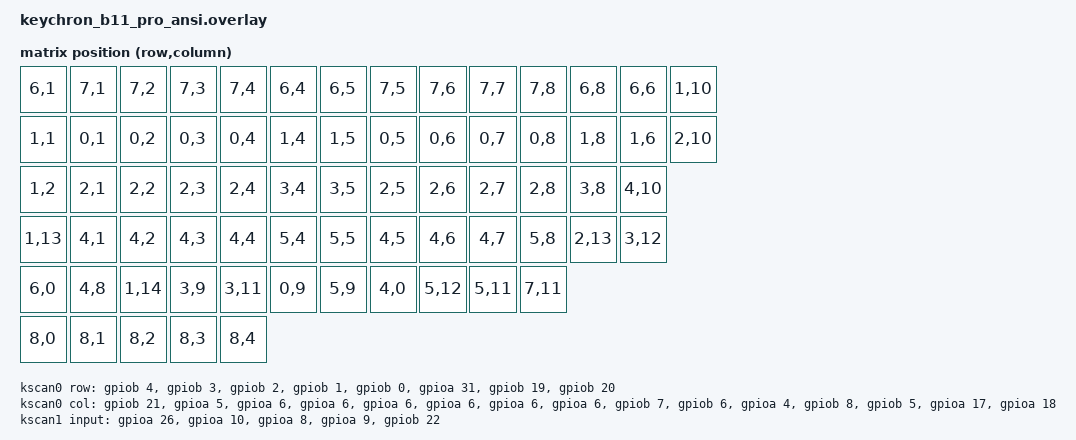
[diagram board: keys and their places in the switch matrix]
/*
 * Keychron B11 Pro (ANSI, 65% Alice, foldable) - RTL8762G.
 *
 * Hardware facts below come from the stock 1.0.0 OTA image
 * (b11pro_v1.0.0_ansi_202509241023_ota_1.bin, USB 3434:07b0), read with a
 * pointer scan of its device tables, not from a schematic. Source of each fact:
 *   - matrix: 8 rows x 15 cols, cols 0-7 behind a 74HC595 (data B21, rclk A5,
 *     clk A6 - the same three pins as the K3 SE2 shield), cols 8-14 are direct
 *     GPIO outputs, rows are active-low inputs with pull-ups.
 *   - key index table (matrix cell -> reading-order key number) at stock
 *     0x4041158; the transform below is generated from it and agrees with
 *     Keychron's launcher layout JSON (b11pro_ansi_launcher_layout.json).
 *   - direct inputs: image order A26, A10, A8, A9, B22. Stock keymap binds them to
 *     &mo 3 (Windows base layer), &kc MOD_USB, &kc MOD_PPT, &kc MOD_BLE, &kc BAT_CHG,
 *     so A26 is the Mac/Win switch (high = Windows), not a fold sensor.
 * Confirmed by disassembling the stock scan (see b11-pro/hardware.md): pins,
 * row/col order, 595 bit order (col n = Q n, active low), LED pins and polarity.
 * Still unverified on a board: anything electrical the image cannot show.
 */
#include <dt-bindings/zmk/matrix_transform.h>
#include <dt-bindings/led/led.h>
#include <zephyr/dt-bindings/gpio/realtek-rtl87x2g-gpio.h>

&gpioa {
    status = "okay";
};
&gpiob {
    status = "okay";
};
&usb {
    status = "okay";
};
&timer2 {
    status = "okay";
    prescaler = <1>;
};
&timer8 {
    status = "okay";
};
&timer9 {
    status = "okay";
};
&corewdt {
    status = "okay";
    initial-timeout-ms = <5000>;
};
&aonwdt {
    status = "disabled";
    initial-timeout-ms = <5000>;
};
/ {
    aliases {
        watchdog = &corewdt;
    };
};

&adc {
    pinctrl-0 = <&adc_default>;
    pinctrl-1 = <&adc_sleep>;
    pinctrl-names = "default","sleep";
    #address-cells = <1>;
    #size-cells = <0>;
    status = "okay";
    is-bypass-mode= <0x08>;
    channel@3 {
        reg = <3>;
        zephyr,gain = "ADC_GAIN_1";
        zephyr,reference = "ADC_REF_INTERNAL";
        zephyr,acquisition-time = <ADC_ACQ_TIME_DEFAULT>;
        zephyr,resolution = <12>;
    };
};

/ {
    chosen {
        zmk,kscan = &kscan_comp;
        zmk,matrix-transform = &default_transform;
        zmk,battery = &vbatt;
    };

    kscan_comp: kscan {
        compatible = "zmk,kscan-composite";
        rows = <9>;
        columns = <15>;
        // direct init first, shifted below the matrix rows
        direct {
            kscan = <&kscan1>;
            row-offset = <8>;
        };
        matrix {
            kscan = <&kscan0>;
        };
    };

    kscan0: kscan_matrix {
        compatible = "zmk,kscan-gpio-matrix";

        diode-direction = "col2row"; // col output, row input
        debounce-scan-period-ms = <1>;
        debounce-press-ms = <0>;
        debounce-release-ms = <50>;

        row-gpios
              = <&gpiob 4 (GPIO_ACTIVE_LOW | GPIO_PULL_UP)>    //r0 P3_7
            , <&gpiob 3 (GPIO_ACTIVE_LOW | GPIO_PULL_UP)>    //r1 P3_6
            , <&gpiob 2 (GPIO_ACTIVE_LOW | GPIO_PULL_UP)>    //r2 P3_5
            , <&gpiob 1 (GPIO_ACTIVE_LOW | GPIO_PULL_UP)>    //r3 P3_4
            , <&gpiob 0 (GPIO_ACTIVE_LOW | GPIO_PULL_UP)>    //r4 P3_3
            , <&gpioa 31 (GPIO_ACTIVE_LOW | GPIO_PULL_UP)>   //r5 P3_2
            , <&gpiob 19 (GPIO_ACTIVE_LOW | GPIO_PULL_UP)>   //r6 P5_6
            , <&gpiob 20 (GPIO_ACTIVE_LOW | GPIO_PULL_UP)>   //r7 P5_7
            ;
        col-gpios
            = <&gpiob 21 (GPIO_ACTIVE_HIGH)>  //c0 P9_0  595 DATA
            , <&gpioa 5  (GPIO_ACTIVE_HIGH)>  //c1 P0_5  595 RCK
            , <&gpioa 6  (GPIO_ACTIVE_HIGH)>  //c2 P0_6  595 CLK
            , <&gpioa 6  (GPIO_ACTIVE_HIGH)>  //c3 (595 output, placeholder pin)
            , <&gpioa 6  (GPIO_ACTIVE_HIGH)>  //c4 (595 output, placeholder pin)
            , <&gpioa 6  (GPIO_ACTIVE_HIGH)>  //c5 (595 output, placeholder pin)
            , <&gpioa 6  (GPIO_ACTIVE_HIGH)>  //c6 (595 output, placeholder pin)
            , <&gpioa 6  (GPIO_ACTIVE_HIGH)>  //c7 (595 output, placeholder pin)
            , <&gpiob 7  (GPIO_ACTIVE_HIGH)>  //c8  P4_2 direct
            , <&gpiob 6  (GPIO_ACTIVE_HIGH)>  //c9  P4_1 direct
            , <&gpioa 4  (GPIO_ACTIVE_HIGH)>  //c10 P0_4 direct
            , <&gpiob 8  (GPIO_ACTIVE_HIGH)>  //c11 P4_3 direct
            , <&gpiob 5  (GPIO_ACTIVE_HIGH)>  //c12 P4_0 direct
            , <&gpioa 17 (GPIO_ACTIVE_HIGH)>  //c13 XI32K direct
            , <&gpioa 18 (GPIO_ACTIVE_HIGH)>  //c14 XO32K direct
            ;
        pinctrl-0 = <&gpio_default>;
        pinctrl-1 = <&gpio_sleep>;
        pinctrl-names = "default","sleep";
    };

    kscan1: kscan_direct {
        compatible = "zmk,kscan-gpio-direct";
        input-gpios =
          <&gpioa 26 (GPIO_ACTIVE_HIGH)>  //Mac/Win switch, high = Win (stock: &mo 3)  P2_5
        , <&gpioa 10 (GPIO_ACTIVE_LOW)>   //slider USB position + usb_det gate (stock: &kc MOD_USB)  P1_2
        , <&gpioa 8  (GPIO_ACTIVE_LOW)>   //2.4G slider (stock: &kc MOD_PPT)  P1_0
        , <&gpioa 9  (GPIO_ACTIVE_LOW)>   //BT slider (stock: &kc MOD_BLE)  P1_1
        , <&gpiob 22 (GPIO_ACTIVE_LOW)>   //charging (stock: &kc BAT_CHG)  P9_1
        ;
        debounce-scan-period-ms = <20>;
        debounce-release-ms = <20>;
        pinctrl-0 = <&gpio_direct_default>;
        pinctrl-1 = <&gpio_direct_sleep>;
        pinctrl-names = "default","sleep";
    };

    vbatt: vbatt {
        compatible = "zmk,battery-voltage-divider";
        io-channels = <&adc 3>;
        output-ohms = <220000>;
        full-ohms = <(1000000 + 220000)>;
    };

    // Indicator LEDs, active low. Stock device names: led_caps, led_ble, led_ppt.
    led_caps: led_caps {
        compatible = "gpio-leds";
        led1 {
            gpios = <&gpioa 27 GPIO_ACTIVE_LOW>;  //P2_6
        };
    };
    led_ble: led_ble {
        compatible = "gpio-leds";
        led2 {
            gpios = <&gpioa 28 GPIO_ACTIVE_LOW>;  //P2_7
        };
    };
    // Battery / charge LED pair, stock device "led_rgb" (2 channels, active low).
    led_rgb: led_rgb {
        compatible = "gpio-leds";
        led_rgb_0 {
            gpios = <&gpioa 29 GPIO_ACTIVE_LOW>;  //P3_0
        };
        led_rgb_1 {
            gpios = <&gpioa 25 GPIO_ACTIVE_LOW>;  //P2_4
        };
    };
    led_ppt: led_ppt {
        compatible = "gpio-leds";
        led5 {
            gpios = <&gpioa 16 GPIO_ACTIVE_LOW>;  //MICBIAS pad (P8_0)
        };
    };

    hc_595 {
        compatible = "gpio-leds";
        clk_595: clk_595 {
            gpios = <&gpioa 6 GPIO_ACTIVE_HIGH>;  //clk  p0_6
        };
        data_595: data_595 {
            gpios = <&gpiob 21 GPIO_ACTIVE_HIGH>;  //data p9_0
        };
        rclk_595: rclk_595 {
            gpios = <&gpioa 5 GPIO_ACTIVE_HIGH>;  //rclk p0_5
        };
    };

    gpio_ctrls {
        compatible = "gpio-leds";
        usb_det: usb_det {
            gpios = <&gpioa 10 GPIO_ACTIVE_LOW>;  //usb det P1_2
        };
        pwr_ctrl: pwr_ctrl {
            gpios = <&gpioa 30 GPIO_ACTIVE_LOW>;  //stock led_pwr_ctrl P3_1
        };
    };

    ppt: ppt {
        compatible = "zmk,ppt-node";
        enh-timers = <&timer8 &timer9>;
        status = "okay";
    };

    // 65 keys in reading order (the Launcher's order), then the five direct
    // inputs in row 8. Rows/cols are the matrix cells of the stock key table.
    default_transform: matrix_transform {
        compatible = "zmk,matrix-transform";
        rows = <9>;
        columns = <15>;
        map = <
            //esc 1 2 3 4 5 6 7 8 9 0 - = bksp
            RC(6,1) RC(7,1) RC(7,2) RC(7,3) RC(7,4) RC(6,4) RC(6,5) RC(7,5) RC(7,6) RC(7,7) RC(7,8) RC(6,8) RC(6,6) RC(1,10)
            //tab q w e r t y u i o p [ ] backslash
            RC(1,1) RC(0,1) RC(0,2) RC(0,3) RC(0,4) RC(1,4) RC(1,5) RC(0,5) RC(0,6) RC(0,7) RC(0,8) RC(1,8) RC(1,6) RC(2,10)
            //caps a s d f g h j k l ; ' enter
            RC(1,2) RC(2,1) RC(2,2) RC(2,3) RC(2,4) RC(3,4) RC(3,5) RC(2,5) RC(2,6) RC(2,7) RC(2,8) RC(3,8) RC(4,10)
            //lshft z x c v b n m , . / rshft up
            RC(1,13) RC(4,1) RC(4,2) RC(4,3) RC(4,4) RC(5,4) RC(5,5) RC(4,5) RC(4,6) RC(4,7) RC(5,8) RC(2,13) RC(3,12)
            //lctrl lgui lalt alt2 spc_l spc_r fn rctrl left down right
            RC(6,0) RC(4,8) RC(1,14) RC(3,9) RC(3,11) RC(0,9) RC(5,9) RC(4,0) RC(5,12) RC(5,11) RC(7,11)
            //mac/win switch  usb  2.4G  bt  charge
            RC(8,0) RC(8,1) RC(8,2) RC(8,3) RC(8,4)
        >;
    };

    // No encoder on the B11 Pro. The board dts always builds the sensor-rotate code, which needs a
    // keymap-sensors node to link, so keep the K3 SE2 shape with the qdec disabled.
    sensors: sensors {
        compatible = "zmk,keymap-sensors";
        status = "okay";
        sensors = <&aon_qdec>;
        triggers-per-rotation = <20>;
    };
};

// The Realtek hardware key-scan block is unused: the matrix is scanned over GPIO.
&kscan {
    pinctrl-0 = <&kscan_default>;
    pinctrl-1 = <&kscan_sleep>;
    pinctrl-names = "default", "sleep";
    row-size = <8>;
    col-size = <15>;
    debounce-time-us = <0>;
    scan-time-us = <0>;
    release-time-us = <10000>;
    scan-debounce-cnt = <1>;
    status = "disabled";
};

&pinctrl {
    adc_default: adc_default {
        group1 {
            psels = <RTL87X2G_PSEL(SW_MODE, P2_3, DIR_IN, DRV_LOW, PULL_NONE)>;
        };
    };
    adc_sleep: adc_sleep {
        group1 {
            psels = <RTL87X2G_PSEL(SW_MODE, P2_3, DIR_IN, DRV_LOW, PULL_DOWN)>;
        };
    };

    // Required by the disabled &kscan node above; same shape as the K3 SE2 shield.
    kscan_default: kscan_default {
        group1 {
            psels = <RTL87X2G_PSEL(KEY_COL_0, P9_3, DIR_OUT, DRV_LOW, PULL_NONE)>;
        };
        group2 {
            psels = <RTL87X2G_PSEL(KEY_ROW_0, P1_5, DIR_IN, DRV_LOW, PULL_UP)>;
            bias-pull-strong;
        };
    };
    kscan_sleep: kscan_sleep {
        group1 {
            psels = <RTL87X2G_PSEL(SW_MODE, P9_3, DIR_OUT, DRV_LOW, PULL_DOWN)>;
        };
        group2 {
            psels = <RTL87X2G_PSEL(SW_MODE, P1_5, DIR_IN, DRV_HIGH, PULL_UP)>;
            bias-pull-strong;
            wakeup-low;
        };
    };

    // Console UART the board dts points at. Debug only: serial is off in the .conf, and P3_0 / P3_1
    // (A29 / A30) are the stock firmware's LED / power control pins, so do not turn the UART on without
    // moving them.
    uart2_default: uart2_default {
        group1 {
            psels = <RTL87X2G_PSEL(UART2_TX, P3_0, DIR_OUT, DRV_HIGH, PULL_UP)>,
            <RTL87X2G_PSEL(UART2_RX, P3_1, DIR_IN, DRV_HIGH, PULL_UP)>;
        };
    };
    uart2_sleep: uart2_sleep {
        group1 {
            psels = <RTL87X2G_PSEL(SW_MODE, P3_0, DIR_IN, DRV_HIGH, PULL_UP)>,
            <RTL87X2G_PSEL(SW_MODE, P3_1, DIR_IN, DRV_HIGH, PULL_UP)>;
        };
    };

    gpio_default: gpio_default {
        // rows first (the sleep-time pin walk in kscan_gpio_matrix.c counts them), then outputs
        group1 {
            psels =
             <RTL87X2G_PSEL(DWGPIO, P3_7, DIR_IN, DRV_HIGH, PULL_UP)>,
             <RTL87X2G_PSEL(DWGPIO, P3_6, DIR_IN, DRV_HIGH, PULL_UP)>,
             <RTL87X2G_PSEL(DWGPIO, P3_5, DIR_IN, DRV_HIGH, PULL_UP)>,
             <RTL87X2G_PSEL(DWGPIO, P3_4, DIR_IN, DRV_HIGH, PULL_UP)>,
             <RTL87X2G_PSEL(DWGPIO, P3_3, DIR_IN, DRV_HIGH, PULL_UP)>,
             <RTL87X2G_PSEL(DWGPIO, P3_2, DIR_IN, DRV_HIGH, PULL_UP)>,
             <RTL87X2G_PSEL(DWGPIO, P5_6, DIR_IN, DRV_HIGH, PULL_UP)>,
             <RTL87X2G_PSEL(DWGPIO, P5_7, DIR_IN, DRV_HIGH, PULL_UP)>;
             // weak pull-up, as stock: with bias-pull-strong the 595 columns (0-7) read nothing
        };
        group2 {
            psels =
             <RTL87X2G_PSEL(DWGPIO, P9_0, DIR_OUT, DRV_HIGH, PULL_UP)>,
             <RTL87X2G_PSEL(DWGPIO, P0_5, DIR_OUT, DRV_HIGH, PULL_UP)>,
             <RTL87X2G_PSEL(DWGPIO, P0_6, DIR_OUT, DRV_HIGH, PULL_UP)>,
             <RTL87X2G_PSEL(DWGPIO, P4_2, DIR_OUT, DRV_HIGH, PULL_UP)>,
             <RTL87X2G_PSEL(DWGPIO, P4_1, DIR_OUT, DRV_HIGH, PULL_UP)>,
             <RTL87X2G_PSEL(DWGPIO, P0_4, DIR_OUT, DRV_HIGH, PULL_UP)>,
             <RTL87X2G_PSEL(DWGPIO, P4_3, DIR_OUT, DRV_HIGH, PULL_UP)>,
             <RTL87X2G_PSEL(DWGPIO, P4_0, DIR_OUT, DRV_HIGH, PULL_UP)>,
             <RTL87X2G_PSEL(DWGPIO, XI32K, DIR_OUT, DRV_HIGH, PULL_UP)>,
             <RTL87X2G_PSEL(DWGPIO, XO32K, DIR_OUT, DRV_HIGH, PULL_UP)>;
        };
    };
    gpio_sleep: gpio_sleep {
        group1 {
            psels =
             <RTL87X2G_PSEL(SW_MODE, P3_7, DIR_IN, DRV_HIGH, PULL_UP)>,
             <RTL87X2G_PSEL(SW_MODE, P3_6, DIR_IN, DRV_HIGH, PULL_UP)>,
             <RTL87X2G_PSEL(SW_MODE, P3_5, DIR_IN, DRV_HIGH, PULL_UP)>,
             <RTL87X2G_PSEL(SW_MODE, P3_4, DIR_IN, DRV_HIGH, PULL_UP)>,
             <RTL87X2G_PSEL(SW_MODE, P3_3, DIR_IN, DRV_HIGH, PULL_UP)>,
             <RTL87X2G_PSEL(SW_MODE, P3_2, DIR_IN, DRV_HIGH, PULL_UP)>,
             <RTL87X2G_PSEL(SW_MODE, P5_6, DIR_IN, DRV_HIGH, PULL_UP)>,
             <RTL87X2G_PSEL(SW_MODE, P5_7, DIR_IN, DRV_HIGH, PULL_UP)>;
             wakeup-low;
        };
        group2 {
            psels =
             <RTL87X2G_PSEL(SW_MODE, P9_0, DIR_OUT, DRV_LOW, PULL_DOWN)>,
             <RTL87X2G_PSEL(SW_MODE, P0_5, DIR_OUT, DRV_LOW, PULL_DOWN)>,
             <RTL87X2G_PSEL(SW_MODE, P0_6, DIR_OUT, DRV_LOW, PULL_DOWN)>,
             <RTL87X2G_PSEL(SW_MODE, P4_2, DIR_OUT, DRV_LOW, PULL_DOWN)>,
             <RTL87X2G_PSEL(SW_MODE, P4_1, DIR_OUT, DRV_LOW, PULL_DOWN)>,
             <RTL87X2G_PSEL(SW_MODE, P0_4, DIR_OUT, DRV_LOW, PULL_DOWN)>,
             <RTL87X2G_PSEL(SW_MODE, P4_3, DIR_OUT, DRV_LOW, PULL_DOWN)>,
             <RTL87X2G_PSEL(SW_MODE, P4_0, DIR_OUT, DRV_LOW, PULL_DOWN)>,
             <RTL87X2G_PSEL(SW_MODE, XI32K, DIR_OUT, DRV_LOW, PULL_DOWN)>,
             <RTL87X2G_PSEL(SW_MODE, XO32K, DIR_OUT, DRV_LOW, PULL_DOWN)>;
        };
    };

    gpio_direct_default: gpio_direct_default {
        group1 {
            psels =
            <RTL87X2G_PSEL(DWGPIO, P2_5, DIR_IN, DRV_HIGH, PULL_NONE)>,
            <RTL87X2G_PSEL(DWGPIO, P1_2, DIR_IN, DRV_HIGH, PULL_NONE)>,
            <RTL87X2G_PSEL(DWGPIO, P1_0, DIR_IN, DRV_HIGH, PULL_NONE)>,
            <RTL87X2G_PSEL(DWGPIO, P1_1, DIR_IN, DRV_HIGH, PULL_NONE)>,
            <RTL87X2G_PSEL(DWGPIO, P9_1, DIR_IN, DRV_HIGH, PULL_UP)>;//charge pin leaks, has to pull up
        };
    };
    gpio_direct_sleep: gpio_direct_sleep {
        group1 {
            psels =
            <RTL87X2G_PSEL(SW_MODE, P2_5, DIR_IN, DRV_HIGH, PULL_NONE)>,
            <RTL87X2G_PSEL(SW_MODE, P1_2, DIR_IN, DRV_HIGH, PULL_NONE)>,
            <RTL87X2G_PSEL(SW_MODE, P1_0, DIR_IN, DRV_HIGH, PULL_NONE)>,
            <RTL87X2G_PSEL(SW_MODE, P1_1, DIR_IN, DRV_HIGH, PULL_NONE)>,
            <RTL87X2G_PSEL(SW_MODE, P9_1, DIR_IN, DRV_HIGH, PULL_UP)>;
        };
    };

    qdec_default: qdec_default {
        group1 {
            psels = <RTL87X2G_PSEL(QDPH0_IN_P9_0_P9_1, P9_0, DIR_IN, DRV_LOW, PULL_UP)>,
             <RTL87X2G_PSEL(QDPH0_IN_P9_0_P9_1, P9_1, DIR_IN, DRV_LOW, PULL_UP)>;
             wakeup-low;
        };
    };
    qdec_sleep: qdec_sleep {
        group1 {
            psels = <RTL87X2G_PSEL(SW_MODE, P9_0, DIR_IN, DRV_HIGH, PULL_NONE)>,
             <RTL87X2G_PSEL(SW_MODE, P9_1, DIR_IN, DRV_HIGH, PULL_NONE)>;
        };
    };
};

&aon_qdec {
    status = "disabled";
    pinctrl-0 = <&qdec_default>;
    pinctrl-1 = <&qdec_sleep>;
    pinctrl-names = "default","sleep";
    counts-per-revolution = <4>;
};
